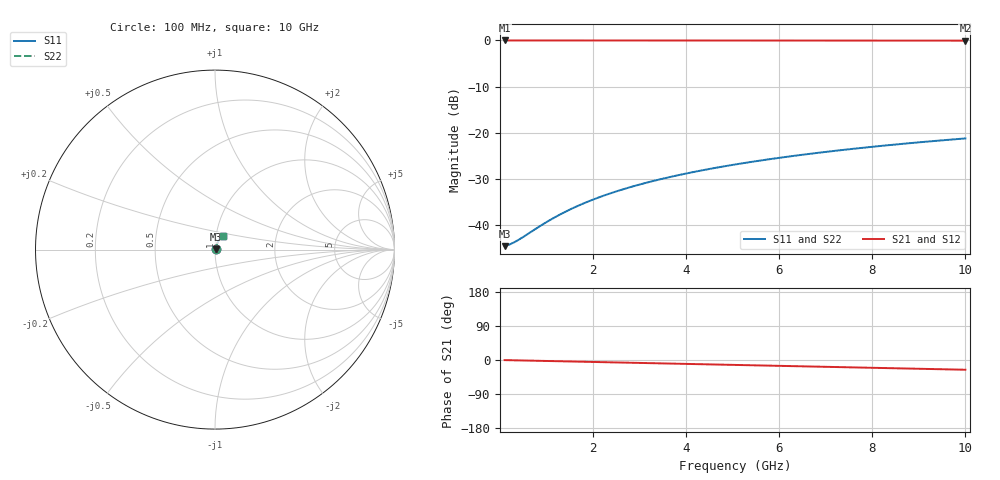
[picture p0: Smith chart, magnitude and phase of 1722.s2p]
# Hz S RI R 50.00
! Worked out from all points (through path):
!   100 points, 100 MHz to 10 GHz, reference 50 ohm
!   highest |S21| = -0.05 dB at 100 MHz (marker M1); lowest = -0.1 dB at 10 GHz (marker M2)
!   group delay of S21, straight-line fit = 7.14 ps
!   lowest |S11| = -44.5 dB at 100 MHz (marker M3), VSWR 1.01, Z = 50.6 + j0.0885 ohm
!   |S11| at or under -10 dB: start of sweep to end of sweep
!   |S22| runs from -44.5 to -21.2 dB; largest |S21 - S12| = 0
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1e8  0.00591 0.000875  0.9941 -0.00446  0.9941 -0.00446  0.00591 0.000875
2e8  0.00596 0.00175  0.994 -0.00893  0.994 -0.00893  0.00596 0.00175
3e8  0.006 0.00262  0.9939 -0.0134  0.9939 -0.0134  0.006 0.00262
4e8  0.00605 0.0035  0.9938 -0.0179  0.9938 -0.0179  0.00605 0.0035
9e8  0.00639 0.00786  0.9931 -0.0402  0.9931 -0.0402  0.00639 0.00786
1.2e9  0.00667 0.0105  0.9924 -0.0535  0.9924 -0.0535  0.00667 0.0105
1.5e9  0.00701 0.0131  0.9915 -0.0669  0.9915 -0.0669  0.00701 0.0131
1.8e9  0.00743 0.0157  0.9904 -0.0802  0.9904 -0.0802  0.00743 0.0157
2.1e9  0.00791 0.0182  0.9892 -0.0935  0.9892 -0.0935  0.00791 0.0182
2.5e9  0.00865 0.0216  0.9872 -0.1113  0.9872 -0.1113  0.00865 0.0216
2.9e9  0.00952 0.025  0.985 -0.129  0.985 -0.129  0.00952 0.025
3.4e9  0.0108 0.0292  0.9816 -0.151  0.9816 -0.151  0.0108 0.0292
3.8e9  0.0119 0.0325  0.9786 -0.1686  0.9786 -0.1686  0.0119 0.0325
4.2e9  0.0132 0.0358  0.9753 -0.1861  0.9753 -0.1861  0.0132 0.0358
4.6e9  0.0145 0.039  0.9716 -0.2035  0.9716 -0.2035  0.0145 0.039
5.1e9  0.0164 0.0429  0.9666 -0.2252  0.9666 -0.2252  0.0164 0.0429
5.9e9  0.0198 0.049  0.9575 -0.2597  0.9575 -0.2597  0.0198 0.049
6.7e9  0.0236 0.0548  0.9472 -0.2937  0.9472 -0.2937  0.0236 0.0548
7.5e9  0.0278 0.0604  0.9356 -0.3273  0.9356 -0.3273  0.0278 0.0604
8.4e9  0.0329 0.0662  0.9211 -0.3645  0.9211 -0.3645  0.0329 0.0662
9.2e9  0.0379 0.0711  0.907 -0.3971  0.907 -0.3971  0.0379 0.0711
1e10  0.0433 0.0755  0.8917 -0.429  0.8917 -0.429  0.0433 0.0755
